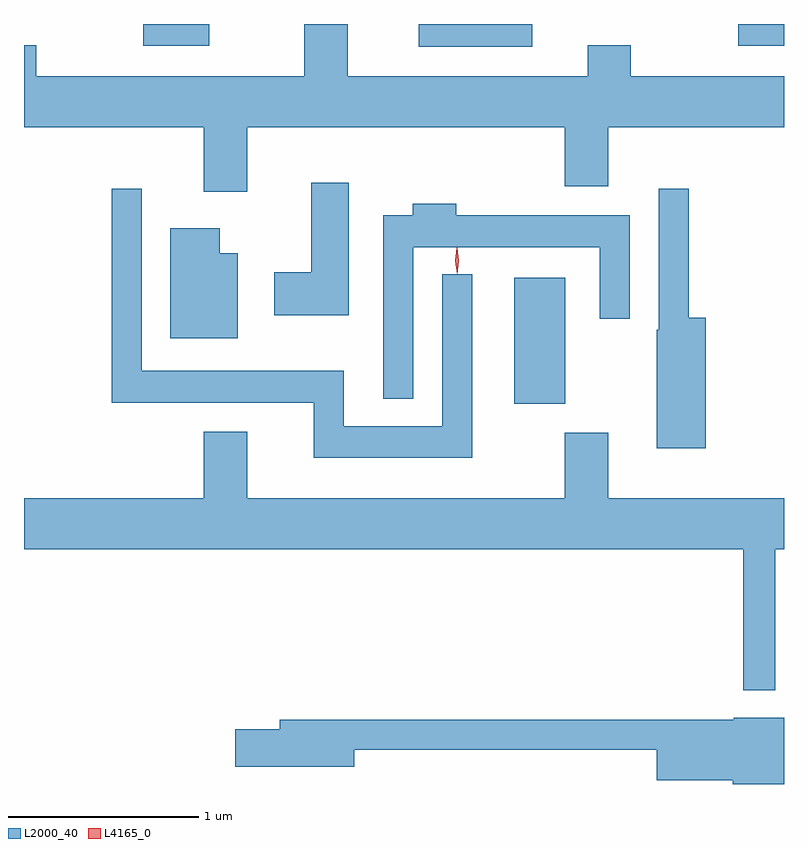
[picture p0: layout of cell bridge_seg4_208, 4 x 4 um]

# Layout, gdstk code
import gdstk
lib = gdstk.Library(unit=1e-6, precision=1e-09)
def R(c, l, rs):  # rectangles x0, y0, x1, y1
    for r in rs: c.add(gdstk.rectangle(r[:2], r[2:], *l))
def P(c, l, *ps):  # polygons
    for p in ps: c.add(gdstk.Polygon(p, *l))
L2000_40 = (2000, 40)
L4165_0 = (4165, 0)

bridge_seg4_208 = lib.new_cell('bridge_seg4_208')
R(bridge_seg4_208, L2000_40, [(1018.896,1311.041,1019.164,1311.704), (1018.393,1312.921,1018.989,1313.04), (1016.943,1312.926,1017.289,1313.04), (1020.073,1312.926,1020.315,1313.04)])
P(bridge_seg4_208, L2000_40, [(1017.489,1312.496),(1019.161,1312.496),(1019.161,1312.186),(1019.389,1312.186),(1019.389,1312.496),(1020.315,1312.496),(1020.315,1312.764),(1019.509,1312.764),(1019.509,1312.929),(1019.281,1312.929),(1019.281,1312.764),(1018.019,1312.764),(1018.019,1313.04),(1017.791,1313.04),(1017.791,1312.764),(1016.379,1312.764),(1016.379,1312.929),(1016.315,1312.929),(1016.315,1312.496),(1017.261,1312.496),(1017.261,1312.156),(1017.489,1312.156)],
  [(1018.024,1312.204),(1017.826,1312.204),(1017.826,1311.734),(1017.631,1311.734),(1017.631,1311.506),(1018.024,1311.506)],
  [(1018.674,1311.723),(1018.516,1311.723),(1018.516,1310.924),(1017.999,1310.924),(1017.999,1311.214),(1016.934,1311.214),(1016.934,1312.173),(1016.776,1312.173),(1016.776,1311.046),(1017.841,1311.046),(1017.841,1310.756),(1018.674,1310.756)],
  [(1019.904,1311.494),(1019.814,1311.494),(1019.814,1312.173),(1019.656,1312.173),(1019.656,1311.43),(1019.646,1311.43),(1019.646,1310.806),(1019.904,1310.806)],
  [(1018.364,1311.866),(1019.346,1311.866),(1019.346,1311.488),(1019.504,1311.488),(1019.504,1312.034),(1018.589,1312.034),(1018.589,1312.094),(1018.361,1312.094),(1018.361,1312.034),(1018.206,1312.034),(1018.206,1311.068),(1018.364,1311.068)],
  [(1017.439,1311.834),(1017.344,1311.834),(1017.344,1311.964),(1017.086,1311.964),(1017.086,1311.386),(1017.439,1311.386)],
  [(1020.269,1310.276),(1020.315,1310.276),(1020.315,1310.544),(1019.389,1310.544),(1019.389,1310.889),(1019.161,1310.889),(1019.161,1310.544),(1017.489,1310.544),(1017.489,1310.894),(1017.261,1310.894),(1017.261,1310.544),(1016.315,1310.544),(1016.315,1310.276),(1020.101,1310.276),(1020.101,1309.533),(1020.269,1309.533)],
  [(1020.315,1309.389),(1020.05,1309.389),(1020.05,1309.379),(1017.661,1309.379),(1017.661,1309.329),(1017.426,1309.329),(1017.426,1309.131),(1018.054,1309.131),(1018.054,1309.221),(1019.646,1309.221),(1019.646,1309.061),(1020.046,1309.061),(1020.046,1309.04),(1020.315,1309.04)])
P(bridge_seg4_208, L4165_0, [(1018.594,1311.724),(1018.594,1311.724),(1018.584,1311.793),(1018.593,1311.862),(1018.594,1311.863),(1018.594,1311.862),(1018.604,1311.793),(1018.594,1311.724)])

lib.write_gds('bridge_seg4_208.gds')
